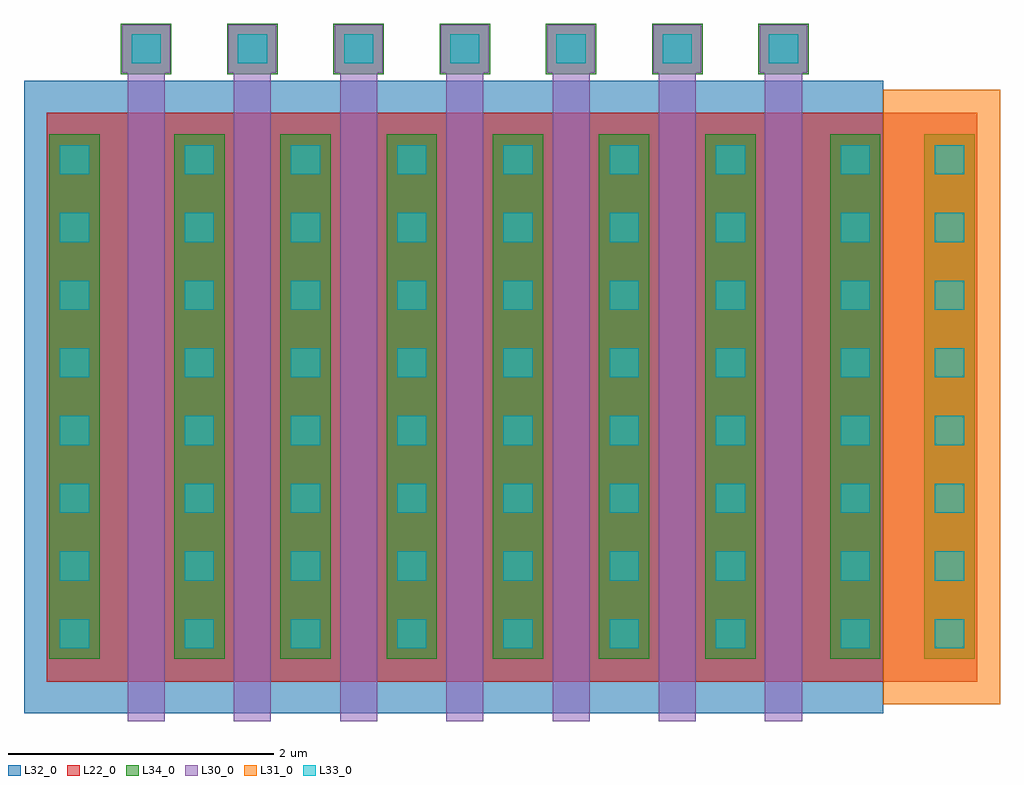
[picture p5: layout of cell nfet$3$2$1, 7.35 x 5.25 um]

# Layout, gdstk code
import gdstk
lib = gdstk.Library(unit=1e-6, precision=1e-09)
def R(c, l, rs):  # rectangles x0, y0, x1, y1
    for r in rs: c.add(gdstk.rectangle(r[:2], r[2:], *l))
def A(c, l, x, y, w, h, nx, ny, dx, dy):  # array of equal rectangles
    R(c, l, [(x+i*dx, y+j*dy, x+i*dx+w, y+j*dy+h) for i in range(nx) for j in range(ny)])
L22_0 = (22, 0)
L30_0 = (30, 0)
L31_0 = (31, 0)
L32_0 = (32, 0)
L33_0 = (33, 0)
L34_0 = (34, 0)

nfet_3_2_1 = lib.new_cell('nfet$3$2$1')
R(nfet_3_2_1, L22_0, [(-0.42,0,0,4.285), (0,0,5.46,4.285), (5.46,0,5.88,4.285), (5.88,0,6.59,4.285)])
A(nfet_3_2_1, L30_0, 0.19, -0.3, 0.28, 4.885, 7, 1, 0.8, 0)
A(nfet_3_2_1, L30_0, 0.15, 4.585, 0.36, 0.36, 7, 1, 0.8, 0)
R(nfet_3_2_1, L31_0, [(5.88,-0.17,6.76,4.455)])
R(nfet_3_2_1, L32_0, [(-0.59,-0.24,5.88,4.525)])
A(nfet_3_2_1, L33_0, -0.32, 0.25, 0.22, 0.22, 1, 8, 0, 0.51)
A(nfet_3_2_1, L33_0, 0.62, 0.25, 0.22, 0.22, 6, 8, 0.8, 0.51)
A(nfet_3_2_1, L33_0, 5.56, 0.25, 0.22, 0.22, 1, 8, 0, 0.51)
A(nfet_3_2_1, L33_0, 6.27, 0.25, 0.22, 0.22, 1, 8, 0, 0.51)
A(nfet_3_2_1, L33_0, 0.22, 4.655, 0.22, 0.22, 7, 1, 0.8, 0)
A(nfet_3_2_1, L34_0, 0.54, 0.17, 0.38, 3.95, 6, 1, 0.8, 0)
A(nfet_3_2_1, L34_0, 0.14, 4.575, 0.38, 0.38, 7, 1, 0.8, 0)
R(nfet_3_2_1, L34_0, [(-0.4,0.17,-0.02,4.12), (5.48,0.17,5.86,4.12), (6.19,0.17,6.57,4.12)])

lib.write_gds('nfet_3_2_1.gds')
